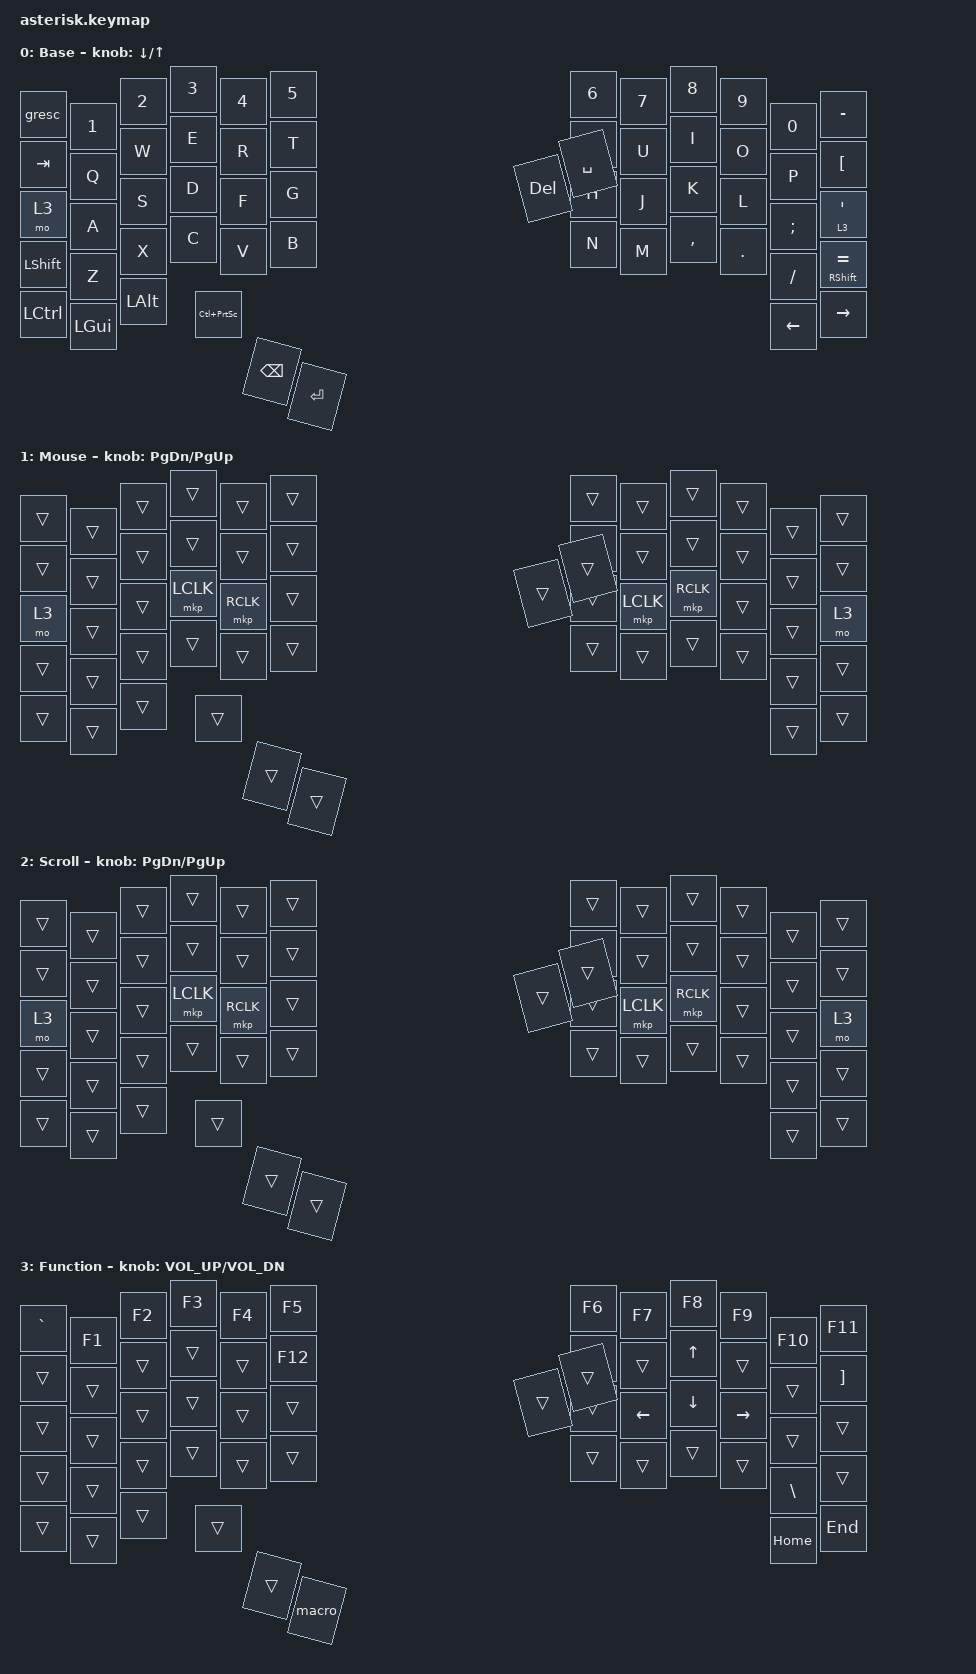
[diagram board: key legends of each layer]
#include <behaviors.dtsi>
#include <dt-bindings/zmk/keys.h>
#include <dt-bindings/zmk/pointing.h>

#define BASE 0 // base layer
#define MSK 1 // mouse key layer
#define MSC 2 // mouse scoll layer
#define FN 3 //Function layer

#define CLICK_TIMEOUT 30
#define PRIOR_IDLE 50

&mt { flavor = "tap-preferred"; };

/ {

    behaviors {
        lt: layer_tap {
            compatible = "zmk,behavior-hold-tap";
            #binding-cells = <2>;
            flavor = "tap-preferred";
            tapping-term-ms = <240>;
            quick-tap-ms = <150>;
            bindings = <&mo>, <&kp>;
        };

        mkt: layer-mouse-key-tap {
            compatible = "zmk,behavior-hold-tap";
            label = "MKT";
            bindings = <&mo>, <&mkp>;

            #binding-cells = <2>;
            flavor = "hold-preferred";
            tapping-term-ms = <200>;
        };
    };

    macros {
        macro: macro {
            compatible = "zmk,behavior-macro";
            #binding-cells = <0>;
            bindings = <&kp P &kp H &kp I &kp M &kp M &kp E &kp O &kp M &kp E &kp O &kp DOT &kp C &kp O &kp M>;
            label = "MACRO";
            wait-ms = <1>;
            tap-ms = <1>;
        };
    };

    combos {
        compatible = "zmk,combos";

        middle_click_right {
            bindings = <&mkt 2 MCLK>;
            key-positions = <31 32 33>;
            layers = <1 0 3>;
        };

        middle_click_left {
            bindings = <&mkt 2 MCLK>;
            key-positions = <27 28 26>;
            layers = <1 0 3>;
        };

        ms-l-click {
            bindings = <&mkp LCLK>;
            key-positions = <27 28>;
            layers = <0 1 3 2>;
            require-prior-idle-ms = <PRIOR_IDLE>;
            timeout-ms = <CLICK_TIMEOUT>;
        };

        ms-l-click-r {
            bindings = <&mkp LCLK>;
            key-positions = <31 32>;
            layers = <0 1 3 2>;
            timeout-ms = <CLICK_TIMEOUT>;
            require-prior-idle-ms = <PRIOR_IDLE>;
        };

        ms-r-click {
            bindings = <&mkp RCLK>;
            key-positions = <27 26>;
            layers = <0 1 3 2>;
            timeout-ms = <CLICK_TIMEOUT>;
            require-prior-idle-ms = <PRIOR_IDLE>;
        };

        ms-r-click-r {
            bindings = <&mkp RCLK>;
            key-positions = <32 33>;
            layers = <0 1 3 2>;
            timeout-ms = <CLICK_TIMEOUT>;
            require-prior-idle-ms = <PRIOR_IDLE>;
        };

        msk_back {
            bindings = <&mkp MB4>;
            key-positions = <39 40>;
            layers = <0 1 2 3>;
            timeout-ms = <CLICK_TIMEOUT>;
            require-prior-idle-ms = <PRIOR_IDLE>;
        };

        msk_forward {
            bindings = <&mkp MB5>;
            key-positions = <15 16>;
            layers = <0 1 2 3>;
            timeout-ms = <CLICK_TIMEOUT>;
            require-prior-idle-ms = <PRIOR_IDLE>;
        };

        msk_back_r {
            bindings = <&mkp MB4>;
            key-positions = <43 44>;
            layers = <0 1 2 3>;
            timeout-ms = <CLICK_TIMEOUT>;
            require-prior-idle-ms = <PRIOR_IDLE>;
        };

        msk_forward_r {
            bindings = <&mkp MB5>;
            key-positions = <19 20>;
            layers = <0 1 2 3>;
            timeout-ms = <20>;
            require-prior-idle-ms = <PRIOR_IDLE>;
        };
    };

    keymap {
        compatible = "zmk,keymap";

        BASE {
            display-name = "Base";
            label = "Base";
            bindings = <
&gresc     &kp N1    &kp N2    &kp N3               &kp N4    &kp N5     &kp N6      &kp N7     &kp N8     &kp N9   &kp N0    &kp MINUS
&kp TAB    &kp Q     &kp W     &kp E                &kp R     &kp T      &kp Y       &kp U      &kp I      &kp O    &kp P     &kp LEFT_BRACKET
&mo 3      &kp A     &kp S     &kp D                &kp F     &kp G      &kp H       &kp J      &kp K      &kp L    &kp SEMI  &lt 3 SQT
&kp LSHFT  &kp Z     &kp X     &kp C                &kp V     &kp B      &kp N       &kp M      &kp COMMA  &kp DOT  &kp FSLH  &mt RIGHT_SHIFT EQUAL
&kp LCTRL  &kp LGUI  &kp LALT  &kp LC(PRINTSCREEN)  &kp BSPC  &kp ENTER  &kp DELETE  &kp SPACE                      &kp LEFT  &kp RIGHT
            >;

            sensor-bindings = <&inc_dec_kp DOWN_ARROW UP_ARROW>;
        };

        MOUSE {
            display-name = "Mouse";
            label = "Mouse";
            bindings = <
&trans  &trans  &trans  &trans     &trans     &trans  &trans  &trans     &trans     &trans  &trans  &trans
&trans  &trans  &trans  &trans     &trans     &trans  &trans  &trans     &trans     &trans  &trans  &trans
&mo 3   &trans  &trans  &mkp LCLK  &mkp RCLK  &trans  &trans  &mkp LCLK  &mkp RCLK  &trans  &trans  &mo 3
&trans  &trans  &trans  &trans     &trans     &trans  &trans  &trans     &trans     &trans  &trans  &trans
&trans  &trans  &trans  &trans     &trans     &trans  &trans  &trans                        &trans  &trans
            >;

            sensor-bindings = <&inc_dec_kp PG_DN PG_UP>;
        };

        SCROLL {
            display-name = "Scroll";
            label = "Scroll";
            bindings = <
&trans  &trans  &trans  &trans     &trans     &trans  &trans  &trans     &trans     &trans  &trans  &trans
&trans  &trans  &trans  &trans     &trans     &trans  &trans  &trans     &trans     &trans  &trans  &trans
&mo 3   &trans  &trans  &mkp LCLK  &mkp RCLK  &trans  &trans  &mkp LCLK  &mkp RCLK  &trans  &trans  &mo 3
&trans  &trans  &trans  &trans     &trans     &trans  &trans  &trans     &trans     &trans  &trans  &trans
&trans  &trans  &trans  &trans     &trans     &trans  &trans  &trans                        &trans  &trans
            >;

            sensor-bindings = <&inc_dec_kp PG_DN PG_UP>;
        };

        FUNC {
            display-name = "Function";
            label = "Function";
            bindings = <
&kp GRAVE  &kp F1  &kp F2  &kp F3  &kp F4  &kp F5   &kp F6  &kp F7    &kp F8    &kp F9     &kp F10        &kp F11
&trans     &trans  &trans  &trans  &trans  &kp F12  &trans  &trans    &kp UP    &trans     &trans         &kp RIGHT_BRACKET
&trans     &trans  &trans  &trans  &trans  &trans   &trans  &kp LEFT  &kp DOWN  &kp RIGHT  &trans         &trans
&trans     &trans  &trans  &trans  &trans  &trans   &trans  &trans    &trans    &trans     &kp BACKSLASH  &trans
&trans     &trans  &trans  &trans  &trans  &macro   &trans  &trans                         &kp HOME       &kp END
            >;

            sensor-bindings = <&inc_dec_kp C_VOLUME_UP C_VOL_DN>;
        };
    };
};
